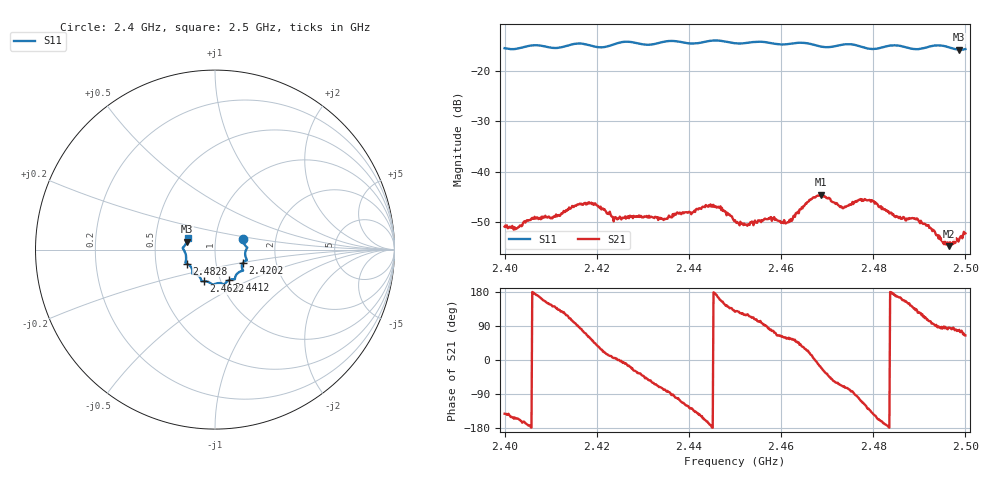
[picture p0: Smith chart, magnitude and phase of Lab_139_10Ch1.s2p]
# Hz S RI R 50
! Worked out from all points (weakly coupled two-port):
!   601 points, 2.4 GHz to 2.5 GHz, reference 50 ohm
!   highest |S21| = -44.56 dB at 2.4687 GHz (marker M1); lowest = -54.8 dB at 2.4965 GHz (marker M2)
!   lowest |S11| = -15.8 dB at 2.4987 GHz (marker M3), VSWR 1.39, Z = 36.3 + j3.26 ohm
!   |S11| at or under -10 dB: start of sweep to end of sweep
!   S12 and S22 are empty: the file has one direction only
!   S11 on the Smith chart (normalised r, x): 2.4 GHz: 1.36, +0.17; 2.4202 GHz: 1.35, -0.20; 2.4412 GHz: 1.09, -0.39; 2.4622 GHz: 0.83, -0.30; 2.4828 GHz: 0.72, -0.12; 2.5 GHz: 0.73, +0.09
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2.4e9  0.1572 0.0608  -0.00224 -0.00176  0 0  0 0
2.4025e9  0.1629 0.0318  -0.00245 -0.00122  0 0  0 0
2.416667e9  0.1774 -0.0592  0.000703 0.00476  0 0  0 0
2.420167e9  0.1569 -0.072  0.00368 0.00279  0 0  0 0
2.424167e9  0.1524 -0.1083  0.00352 0.000193  0 0  0 0
2.433333e9  0.1128 -0.1519  0.0012 -0.00309  0 0  0 0
2.441167e9  0.0757 -0.1714  -0.00287 -0.00293  0 0  0 0
2.446333e9  0.0503 -0.1943  -0.00435 0.00114  0 0  0 0
2.45e9  0.027 -0.1868  -0.00199 0.00263  0 0  0 0
2.452667e9  0.00192 -0.1903  -0.00148 0.0025  0 0  0 0
2.457333e9  -0.0208 -0.1899  0.000374 0.00344  0 0  0 0
2.462167e9  -0.0626 -0.1762  0.00191 0.00281  0 0  0 0
2.466667e9  -0.0774 -0.1674  0.00523 0.00114  0 0  0 0
2.468667e9  -0.0856 -0.1524  0.00556 -0.00204  0 0  0 0
2.473167e9  -0.1217 -0.1356  0.0017 -0.00414  0 0  0 0
2.478667e9  -0.1285 -0.1074  -0.0031 -0.00416  0 0  0 0
2.482833e9  -0.1578 -0.0777  -0.00403 -0.000585  0 0  0 0
2.483333e9  -0.1606 -0.0765  -0.00402 -0.000196  0 0  0 0
2.489333e9  -0.1617 -0.0318  -0.00233 0.00241  0 0  0 0
2.4965e9  -0.1703 0.0204  0.000163 0.00181  0 0  0 0
2.498667e9  -0.1569 0.0437  0.000389 0.0021  0 0  0 0
2.5e9  -0.1531 0.0618  0.00104 0.00221  0 0  0 0
